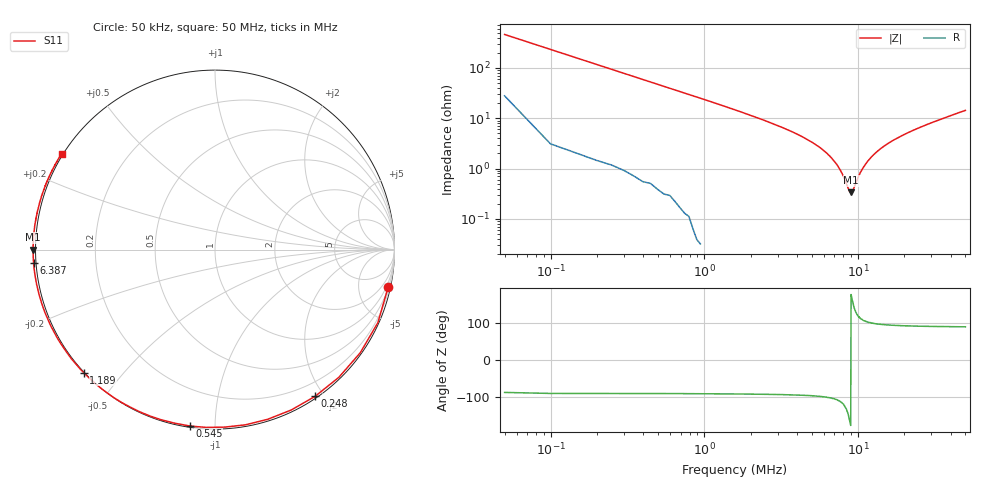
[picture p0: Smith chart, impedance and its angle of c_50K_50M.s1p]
# HZ S RI R 50
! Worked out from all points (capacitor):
!   1010 points, 50 kHz to 50 MHz, reference 50 ohm
!   read as one part to ground: C = 6.74 nF near 297.5 kHz
!   lowest |Z| = 336 mohm at 9.01 MHz (marker M1)
!   series resonance near 8.995 MHz, so ESL is about 46 nH
!   S11 on the Smith chart (normalised r, x): 50 kHz: 0.56, -9.23; 248 kHz: 0.02, -1.89; 545 kHz: 0.01, -0.87; 1.189 MHz: -0.00, -0.40; 6.387 MHz: -0.01, -0.04; 50 MHz: -0.00, +0.29
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50000  0.9645 -0.2107
149008  0.8092 -0.575
248016  0.5576 -0.8177
347024  0.2931 -0.9457
396528  0.1697 -0.9763
446032  0.0547 -0.989
545040  -0.1417 -0.9828
594544  -0.225 -0.967
693552  -0.3645 -0.9263
842064  -0.5209 -0.8514
990576  -0.6309 -0.7761
1188592  -0.7319 -0.6854
1485616  -0.8246 -0.5737
1832144  -0.8879 -0.476
2327184  -0.9368 -0.3753
2921232  -0.9677 -0.2918
3564784  -0.9859 -0.2279
4307344  -0.9977 -0.1739
6337008  -1.011 -0.078
6386512  -1.011 -0.0756
9010224  -1.014 0.000461
1.257451e7  -1.01 0.0741
1.881202e7  -0.9975 0.1738
2.504952e7  -0.978 0.2581
3.128702e7  -0.9534 0.3345
3.752453e7  -0.9247 0.4059
4.376203e7  -0.8917 0.4719
4.999954e7  -0.8547 0.5329
